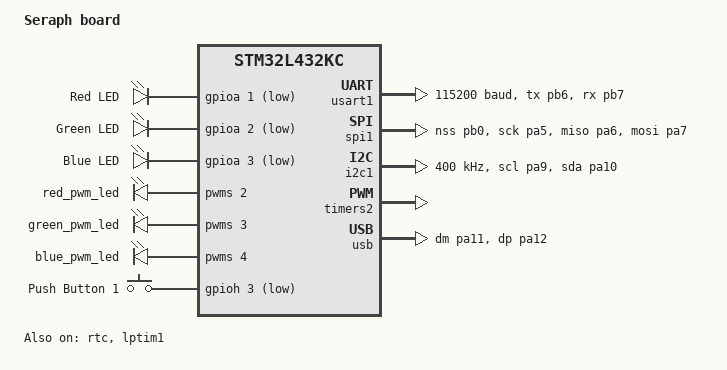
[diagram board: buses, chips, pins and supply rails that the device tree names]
/*
 * Copyright (c) 2017 Linaro Limited
 *
 * SPDX-License-Identifier: Apache-2.0
 */

/dts-v1/;
#include <st/l4/stm32l432Xc.dtsi>
#include <st/l4/stm32l432k(b-c)ux-pinctrl.dtsi>

/ {
	model = "Seraph board";
	compatible = "st,stm32l432kc-seraph";

	chosen {
		zephyr,console = &usart1;
		zephyr,shell-uart = &usart1;
		zephyr,sram = &sram0;
		zephyr,flash = &flash0;
		zephyr,can-primary = &can1;
    //zephyr,code-partition = &slot0_partition;
	};



  leds {
		compatible = "gpio-leds";

		red_led: led_0 {
			gpios = <&gpioa 1 GPIO_ACTIVE_LOW>;
			label = "Red LED";
		};

		green_led: led_1 {
			gpios = <&gpioa 2 GPIO_ACTIVE_LOW>;
			label = "Green LED";
		};

		blue_led: led_2 {
			gpios = <&gpioa 3 GPIO_ACTIVE_LOW>;
			label = "Blue LED";
		};
	};

  pwmleds {
		compatible = "pwm-leds";

		red_pwm_led: led_pwm_0 {
			pwms = <&pwms 2 4 PWM_POLARITY_NORMAL>;
		};

		green_pwm_led: led_pwm_1 {
			pwms = <&pwms 3 4 PWM_POLARITY_NORMAL>;
		};

		blue_pwm_led: led_pwm_2 {
			pwms = <&pwms 4 4 PWM_POLARITY_NORMAL>;
		};
	};

  buttons {
		compatible = "gpio-keys";

		button0: button_0 {
			gpios = <&gpioh 3 (GPIO_PULL_UP | GPIO_ACTIVE_LOW)>;
			label = "Push Button 1";
		};
	};


	aliases {
    led0 = &red_led;
    led1 = &green_led;
    led2 = &blue_led;
    pwm-led0 = &red_pwm_led;
		pwm-led1 = &green_pwm_led;
		pwm-led2 = &blue_pwm_led;
		red-pwm-led = &red_pwm_led;
		green-pwm-led = &green_pwm_led;
		blue-pwm-led = &blue_pwm_led;
    sw0 = &button0;
	};
};



&usart1 {
	pinctrl-0 = <&usart1_tx_pb6 &usart1_rx_pb7>;
	current-speed = <115200>;
	status = "okay";
};

&spi1 {
	pinctrl-0 = <&spi1_nss_pb0 &spi1_sck_pa5 &spi1_miso_pa6 &spi1_mosi_pa7>;
	status = "okay";
};

&i2c1 {
	pinctrl-0 = <&i2c1_scl_pa9 &i2c1_sda_pa10>;
	clock-frequency = <I2C_BITRATE_FAST>;
	status = "okay";
};



&timers2 {
	status = "okay";
	pwms: pwm {
		status = "okay";
		pinctrl-0 = <&tim2_ch2_pa1 &tim2_ch3_pa2 &tim2_ch4_pa3>;
	};


};


/*
&timers16 {
	status = "okay";
	pwm2: pwm {
		status = "okay";
		pinctrl-0 = <&tim16_ch1_pa6>;
	};
};
*/



&usb {
	pinctrl-0 = <&usb_dm_pa11 &usb_dp_pa12>;
	status = "okay";
};


&rtc {
	status = "okay";
};

&lptim1 {
	status = "okay";
};

&flash0 {
	partitions {
		compatible = "fixed-partitions";
		#address-cells = <1>;
		#size-cells = <1>;

		/*
		 * Reserve the final 16 KiB for file system partition
		 */
		storage_partition: partition@3c000 {
			label = "storage";
			reg = <0x0003c000 0x00004000>;
		};
	};
};
